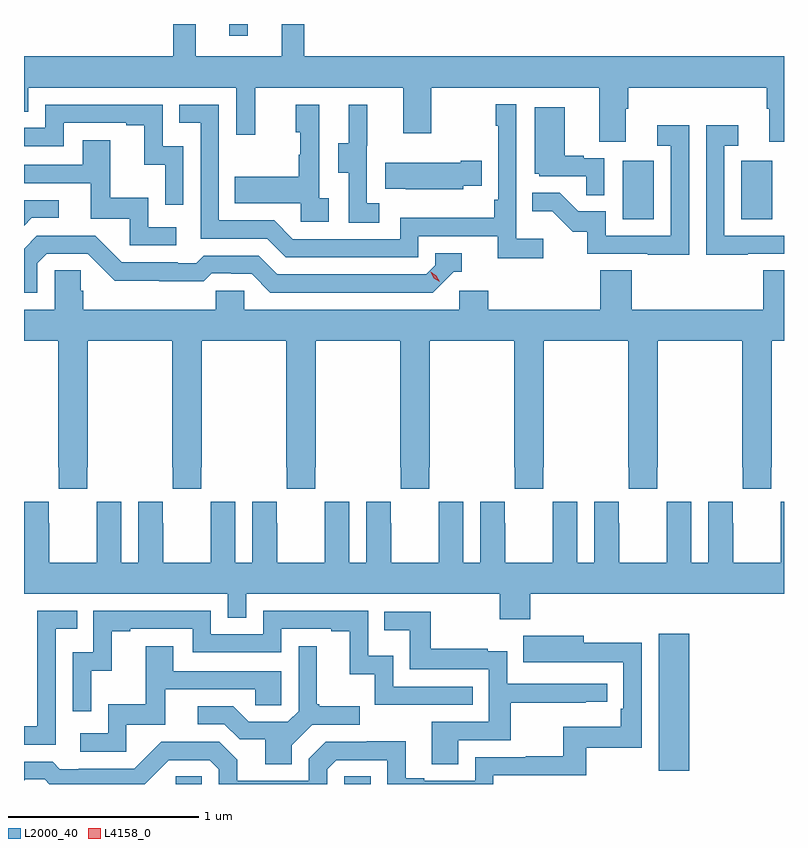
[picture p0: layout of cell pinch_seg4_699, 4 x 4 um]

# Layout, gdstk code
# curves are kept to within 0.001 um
import gdstk
lib = gdstk.Library(unit=1e-6, precision=1e-09)
def R(c, l, rs):  # rectangles x0, y0, x1, y1
    for r in rs: c.add(gdstk.rectangle(r[:2], r[2:], *l))
def P(c, l, *ps):  # polygons
    for p in ps: c.add(gdstk.Polygon(p, *l))
L2000_40 = (2000, 40)
L4158_0 = (4158, 0)

pinch_seg4_699 = lib.new_cell('pinch_seg4_699')
R(pinch_seg4_699, L2000_40, [(1114.057,759.855,1114.194,759.896), (1114.944,759.855,1115.083,759.896), (1116.599,759.924,1116.76,760.645), (1116.41,762.828,1116.574,763.135), (1117.034,762.828,1117.198,763.135), (1114.34,763.794,1114.437,763.855)])
P(pinch_seg4_699, L2000_40, [(1114.733,763.855),(1114.616,763.855),(1114.616,763.684),(1114.163,763.684),(1114.163,763.855),(1114.045,763.855),(1114.045,763.684),(1113.259,763.684),(1113.259,763.393),(1113.282,763.393),(1113.282,763.52),(1114.377,763.52),(1114.377,763.272),(1114.475,763.272),(1114.475,763.52),(1115.255,763.52),(1115.255,763.281),(1115.403,763.281),(1115.403,763.52),(1116.287,763.52),(1116.287,763.234),(1116.427,763.234),(1116.427,763.408),(1116.44,763.408),(1116.44,763.52),(1117.169,763.52),(1117.169,763.408),(1117.181,763.408),(1117.181,763.234),(1117.259,763.234),(1117.259,763.684),(1114.733,763.684)],
  [(1115.992,762.724),(1115.85,762.724),(1115.85,763.432),(1115.742,763.432),(1115.742,763.319),(1115.754,763.319),(1115.754,762.931),(1115.734,762.931),(1115.734,762.835),(1115.238,762.835),(1115.238,762.723),(1114.674,762.723),(1114.575,762.822),(1114.284,762.822),(1114.284,763.431),(1114.075,763.431),(1114.075,763.335),(1114.188,763.335),(1114.188,762.726),(1114.538,762.726),(1114.637,762.627),(1115.334,762.627),(1115.334,762.738),(1115.753,762.738),(1115.753,762.622),(1115.992,762.622)],
  [(1114.098,763.212),(1113.99,763.212),(1113.99,763.431),(1113.372,763.431),(1113.372,763.308),(1113.259,763.308),(1113.259,763.212),(1113.468,763.212),(1113.468,763.335),(1113.797,763.335),(1113.797,763.323),(1113.893,763.323),(1113.893,763.115),(1114.002,763.115),(1114.002,762.903),(1114.098,762.903)],
  [(1114.864,762.938),(1114.812,762.938),(1114.812,763.429),(1114.688,763.429),(1114.688,763.284),(1114.714,763.284),(1114.714,763.166),(1114.704,763.166),(1114.704,763.051),(1114.369,763.051),(1114.369,762.911),(1114.716,762.911),(1114.716,762.813),(1114.864,762.813)],
  [(1115.128,762.911),(1115.064,762.911),(1115.064,763.215),(1115.066,763.215),(1115.066,763.429),(1114.967,763.429),(1114.967,763.227),(1114.913,763.227),(1114.913,763.072),(1114.968,763.072),(1114.968,762.808),(1115.128,762.808)],
  [(1116.312,763.149),(1116.206,763.149),(1116.206,763.162),(1116.106,763.162),(1116.106,763.417),(1115.948,763.417),(1115.948,763.068),(1115.97,763.068),(1115.97,763.053),(1116.217,763.053),(1116.217,762.955),(1116.312,762.955)],
  [(1117.067,762.645),(1117.259,762.645),(1117.259,762.741),(1116.945,762.741),(1116.945,763.215),(1117.018,763.215),(1117.018,763.321),(1116.849,763.321),(1116.849,762.64),(1117.067,762.64)],
  [(1116.759,763.321),(1116.591,763.321),(1116.591,763.215),(1116.663,763.215),(1116.663,762.741),(1116.321,762.741),(1116.321,762.87),(1116.177,762.87),(1116.079,762.968),(1115.935,762.968),(1115.935,762.869),(1116.039,762.869),(1116.146,762.762),(1116.223,762.762),(1116.223,762.645),(1116.541,762.645),(1116.541,762.64),(1116.759,762.64)],
  [(1114.06,762.786),(1113.912,762.786),(1113.912,762.94),(1113.713,762.94),(1113.713,763.243),(1113.569,763.243),(1113.569,763.113),(1113.259,763.113),(1113.259,763.017),(1113.611,763.017),(1113.611,762.831),(1113.816,762.831),(1113.816,762.69),(1114.06,762.69)],
  [(1115.571,763.004),(1115.669,763.004),(1115.669,763.134),(1115.558,763.134),(1115.558,763.126),(1115.161,763.126),(1115.161,762.989),(1115.269,762.989),(1115.269,762.986),(1115.571,762.986)],
  [(1113.3,762.834),(1113.442,762.834),(1113.442,762.927),(1113.259,762.927),(1113.259,762.793)],
  [(1113.33,762.597),(1113.378,762.645),(1113.594,762.645),(1113.736,762.503),(1113.972,762.503),(1113.972,762.501),(1114.205,762.501),(1114.247,762.543),(1114.35,762.543),(1114.35,762.54),(1114.457,762.54),(1114.556,762.441),(1115.409,762.441),(1115.52,762.552),(1115.563,762.552),(1115.563,762.648),(1115.424,762.648),(1115.424,762.585),(1115.376,762.537),(1114.593,762.537),(1114.494,762.636),(1114.205,762.636),(1114.166,762.597),(1114.067,762.597),(1114.067,762.6),(1113.774,762.6),(1113.633,762.741),(1113.327,762.741),(1113.259,762.673),(1113.259,762.441),(1113.33,762.441)],
  [(1114.639,761.521),(1114.641,761.521),(1114.641,761.409),(1114.791,761.409),(1114.791,761.521),(1114.794,761.521),(1114.794,762.188),(1115.239,762.188),(1115.239,761.521),(1115.241,761.521),(1115.241,761.409),(1115.391,761.409),(1115.391,761.521),(1115.394,761.521),(1115.394,762.188),(1115.839,762.188),(1115.839,761.521),(1115.841,761.521),(1115.841,761.409),(1115.991,761.409),(1115.991,761.521),(1115.994,761.521),(1115.994,762.188),(1116.439,762.188),(1116.439,761.521),(1116.441,761.521),(1116.441,761.409),(1116.591,761.409),(1116.591,761.521),(1116.594,761.521),(1116.594,762.188),(1117.039,762.188),(1117.039,761.521),(1117.041,761.521),(1117.041,761.409),(1117.191,761.409),(1117.191,761.521),(1117.194,761.521),(1117.194,762.188),(1117.259,762.188),(1117.259,762.56),(1117.151,762.56),(1117.151,762.352),(1116.458,762.352),(1116.458,762.56),(1116.293,762.56),(1116.293,762.352),(1115.702,762.352),(1115.702,762.45),(1115.55,762.45),(1115.55,762.352),(1114.419,762.352),(1114.419,762.45),(1114.269,762.45),(1114.269,762.352),(1113.572,762.352),(1113.572,762.45),(1113.557,762.45),(1113.557,762.56),(1113.42,762.56),(1113.42,762.352),(1113.259,762.352),(1113.259,762.188),(1113.439,762.188),(1113.439,761.521),(1113.441,761.521),(1113.441,761.409),(1113.591,761.409),(1113.591,761.521),(1113.594,761.521),(1113.594,762.188),(1114.039,762.188),(1114.039,761.521),(1114.041,761.521),(1114.041,761.409),(1114.191,761.409),(1114.191,761.521),(1114.194,761.521),(1114.194,762.188),(1114.639,762.188)],
  [(1115.791,761.228),(1115.79,761.228),(1115.79,761.341),(1115.66,761.341),(1115.66,761.02),(1115.572,761.02),(1115.572,761.341),(1115.442,761.341),(1115.442,761.228),(1115.441,761.228),(1115.441,761.02),(1115.191,761.02),(1115.191,761.228),(1115.19,761.228),(1115.19,761.341),(1115.06,761.341),(1115.06,761.02),(1114.972,761.02),(1114.972,761.341),(1114.842,761.341),(1114.842,761.228),(1114.841,761.228),(1114.841,761.02),(1114.591,761.02),(1114.591,761.228),(1114.59,761.228),(1114.59,761.341),(1114.46,761.341),(1114.46,761.02),(1114.372,761.02),(1114.372,761.341),(1114.242,761.341),(1114.242,761.228),(1114.241,761.228),(1114.241,761.02),(1113.991,761.02),(1113.991,761.228),(1113.99,761.228),(1113.99,761.341),(1113.86,761.341),(1113.86,761.02),(1113.772,761.02),(1113.772,761.341),(1113.642,761.341),(1113.642,761.228),(1113.641,761.228),(1113.641,761.02),(1113.391,761.02),(1113.391,761.228),(1113.39,761.228),(1113.39,761.341),(1113.26,761.341),(1113.26,761.02),(1113.259,761.02),(1113.259,760.856),(1114.332,760.856),(1114.332,760.729),(1114.428,760.729),(1114.428,760.856),(1115.764,760.856),(1115.764,760.721),(1115.924,760.721),(1115.924,760.856),(1117.259,760.856),(1117.259,761.341),(1117.242,761.341),(1117.242,761.228),(1117.241,761.228),(1117.241,761.02),(1116.991,761.02),(1116.991,761.228),(1116.99,761.228),(1116.99,761.341),(1116.86,761.341),(1116.86,761.02),(1116.772,761.02),(1116.772,761.341),(1116.642,761.341),(1116.642,761.228),(1116.641,761.228),(1116.641,761.02),(1116.391,761.02),(1116.391,761.228),(1116.39,761.228),(1116.39,761.341),(1116.26,761.341),(1116.26,761.02),(1116.172,761.02),(1116.172,761.341),(1116.042,761.341),(1116.042,761.228),(1116.041,761.228),(1116.041,761.02),(1115.791,761.02)],
  [(1113.612,760.451),(1113.722,760.451),(1113.722,760.659),(1113.817,760.659),(1113.817,760.671),(1114.146,760.671),(1114.146,760.548),(1114.614,760.548),(1114.614,760.671),(1114.877,760.671),(1114.877,760.659),(1114.973,760.659),(1114.973,760.433),(1115.106,760.433),(1115.106,760.272),(1115.621,760.272),(1115.621,760.368),(1115.202,760.368),(1115.202,760.531),(1115.07,760.531),(1115.07,760.767),(1114.518,760.767),(1114.518,760.644),(1114.242,760.644),(1114.242,760.767),(1113.624,760.767),(1113.624,760.548),(1113.516,760.548),(1113.516,760.239),(1113.612,760.239)],
  [(1113.426,760.671),(1113.539,760.671),(1113.539,760.767),(1113.33,760.767),(1113.33,760.158),(1113.259,760.158),(1113.259,760.062),(1113.426,760.062)],
  [(1115.545,760.086),(1115.822,760.086),(1115.822,760.282),(1116.215,760.282),(1116.215,760.287),(1116.328,760.287),(1116.328,760.383),(1115.802,760.383),(1115.802,760.555),(1115.699,760.555),(1115.699,760.567),(1115.401,760.567),(1115.401,760.761),(1115.155,760.761),(1115.155,760.664),(1115.29,760.664),(1115.29,760.458),(1115.706,760.458),(1115.706,760.182),(1115.405,760.182),(1115.405,759.958),(1115.545,759.958)],
  [(1114.02,759.981),(1114.236,759.981),(1114.284,759.933),(1114.284,759.855),(1114.854,759.855),(1114.854,759.933),(1114.902,759.981),(1115.172,759.981),(1115.172,759.855),(1115.73,759.855),(1115.73,759.9),(1116.217,759.9),(1116.217,760.047),(1116.51,760.047),(1116.51,760.598),(1116.205,760.598),(1116.205,760.636),(1115.887,760.636),(1115.887,760.496),(1116.414,760.497),(1116.414,760.252),(1116.401,760.252),(1116.401,760.156),(1116.096,760.156),(1116.096,760.001),(1115.899,760.001),(1115.899,759.996),(1115.634,759.996),(1115.634,759.873),(1115.365,759.873),(1115.365,759.886),(1115.269,759.886),(1115.269,760.079),(1115.064,760.079),(1115.064,760.077),(1114.848,760.077),(1114.758,759.987),(1114.758,759.873),(1114.381,759.873),(1114.381,759.983),(1114.287,760.077),(1113.981,760.077),(1113.84,759.936),(1113.547,759.936),(1113.547,759.933),(1113.448,759.933),(1113.409,759.972),(1113.259,759.972),(1113.259,759.876),(1113.264,759.876),(1113.264,759.879),(1113.367,759.879),(1113.391,759.855),(1113.894,759.855)],
  [(1113.798,760.167),(1114.003,760.167),(1114.003,760.353),(1114.477,760.353),(1114.477,760.269),(1114.614,760.269),(1114.614,760.449),(1114.045,760.449),(1114.045,760.579),(1113.901,760.579),(1113.901,760.276),(1113.702,760.276),(1113.702,760.122),(1113.555,760.122),(1113.555,760.026),(1113.798,760.026)],
  [(1114.669,760.06),(1114.776,760.167),(1115.026,760.167),(1115.026,760.264),(1114.813,760.264),(1114.813,760.276),(1114.801,760.276),(1114.801,760.579),(1114.704,760.579),(1114.704,760.239),(1114.647,760.182),(1114.441,760.182),(1114.36,760.263),(1114.173,760.263),(1114.173,760.17),(1114.314,760.17),(1114.394,760.09),(1114.529,760.09),(1114.529,759.958),(1114.669,759.958)])
P(pinch_seg4_699, L4158_0, [(1115.447,762.498),(1115.416,762.517),(1115.399,762.55),(1115.399,762.55),(1115.399,762.55),(1115.43,762.531),(1115.447,762.499),(1115.447,762.498)])

lib.write_gds('pinch_seg4_699.gds')
